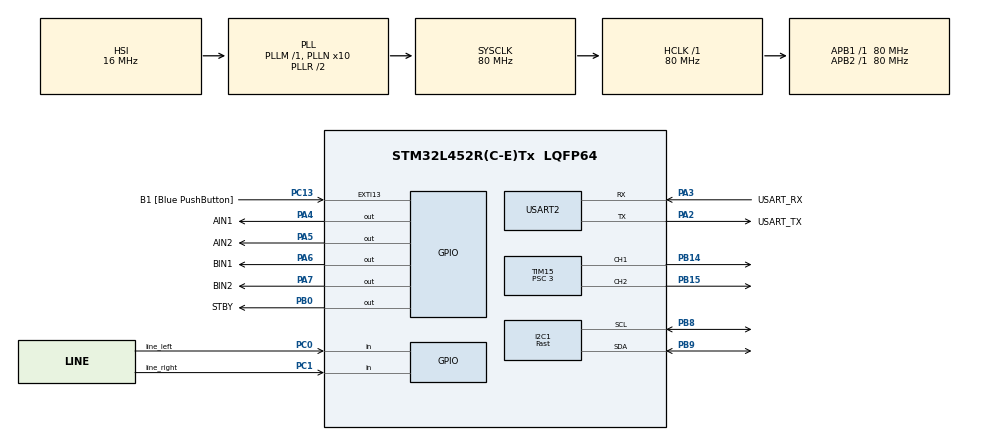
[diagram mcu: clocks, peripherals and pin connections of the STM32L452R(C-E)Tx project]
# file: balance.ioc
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I2C1.I2C_Speed_Mode=I2C_Fast
I2C1.Timing=0x00F12981
Mcu.Family=STM32L4
Mcu.Name=STM32L452R(C-E)Tx
Mcu.Package=LQFP64
NVIC.PriorityGroup=NVIC_PRIORITYGROUP_4
NVIC.TIM6_DAC_IRQn=true\:0\:0\:false\:false\:true\:true\:true\:true
PA13\ (JTMS/SWDIO).GPIO_Label=TMS
PA13\ (JTMS/SWDIO).Mode=Serial_Wire
PA13\ (JTMS/SWDIO).Signal=SYS_JTMS-SWDIO
PA14\ (JTCK/SWCLK).GPIO_Label=TCK
PA14\ (JTCK/SWCLK).Mode=Serial_Wire
PA14\ (JTCK/SWCLK).Signal=SYS_JTCK-SWCLK
PA2.GPIO_Label=USART_TX
PA2.GPIO_Mode=GPIO_MODE_AF_PP
PA2.GPIO_PuPd=GPIO_NOPULL
PA2.GPIO_Speed=GPIO_SPEED_FREQ_VERY_HIGH
PA2.Mode=Asynchronous
PA2.Signal=USART2_TX
PA3.GPIO_Label=USART_RX
PA3.GPIO_Mode=GPIO_MODE_AF_PP
PA3.GPIO_PuPd=GPIO_NOPULL
PA3.GPIO_Speed=GPIO_SPEED_FREQ_VERY_HIGH
PA3.Mode=Asynchronous
PA3.Signal=USART2_RX
PA4.GPIO_Label=AIN1
PA4.Signal=GPIO_Output
PA5.GPIO_Label=AIN2
PA5.Signal=GPIO_Output
PA6.GPIO_Label=BIN1
PA6.Signal=GPIO_Output
PA7.GPIO_Label=BIN2
PA7.Signal=GPIO_Output
PB0.GPIO_Label=STBY
PB0.Signal=GPIO_Output
PB14.Signal=S_TIM15_CH1
PB15.Signal=S_TIM15_CH2
PB3\ (JTDO/TRACESWO).GPIO_Label=SWO
PB3\ (JTDO/TRACESWO).Signal=SYS_JTDO-SWO
PB8.Mode=I2C
PB8.Signal=I2C1_SCL
PB9.Mode=I2C
PB9.Signal=I2C1_SDA
PC0.GPIO_Label=line_left
PC0.GPIO_PuPd=GPIO_PULLUP
PC0.Signal=GPIO_Input
PC1.GPIO_Label=line_right
PC1.GPIO_PuPd=GPIO_PULLUP
PC1.Signal=GPIO_Input
PC13.GPIO_Label=B1 [Blue PushButton]
PC13.GPIO_ModeDefaultEXTI=GPIO_MODE_IT_FALLING
PC13.GPIO_PuPd=GPIO_NOPULL
PC13.Signal=GPXTI13
PC14-OSC32_IN\ (PC14).Mode=LSE-External-Oscillator
PC14-OSC32_IN\ (PC14).Signal=RCC_OSC32_IN
PC15-OSC32_OUT\ (PC15).Mode=LSE-External-Oscillator
PC15-OSC32_OUT\ (PC15).Signal=RCC_OSC32_OUT
PH0-OSC_IN\ (PH0).Signal=RCC_OSC_IN
PH1-OSC_OUT\ (PH1).Signal=RCC_OSC_OUT
ProjectManager.HeapSize=0x200
ProjectManager.StackSize=0x400
ProjectManager.TargetToolchain=STM32CubeIDE
RCC.ADCFreq_Value=64000000
RCC.AHBFreq_Value=80000000
RCC.APB1Freq_Value=80000000
RCC.APB1TimFreq_Value=80000000
RCC.APB2Freq_Value=80000000
RCC.APB2TimFreq_Value=80000000
RCC.CortexFreq_Value=80000000
RCC.HCLKFreq_Value=80000000
RCC.HSE_VALUE=8000000
RCC.HSI48_VALUE=48000000
RCC.HSI_VALUE=16000000
RCC.MSI_VALUE=4000000
RCC.PLLN=10
RCC.PLLSourceVirtual=RCC_PLLSOURCE_HSI
RCC.PREFETCH_ENABLE=1
RCC.SYSCLKFreq_VALUE=80000000
RCC.SYSCLKSource=RCC_SYSCLKSOURCE_PLLCLK
RCC.USBFreq_Value=64000000
RCC.VCOOutputFreq_Value=160000000
SH.S_TIM15_CH1.0=TIM15_CH1,PWM Generation1 CH1
SH.S_TIM15_CH2.0=TIM15_CH2,PWM Generation2 CH2
TIM15.Channel-PWM\ Generation1\ CH1=TIM_CHANNEL_1
TIM15.Channel-PWM\ Generation2\ CH2=TIM_CHANNEL_2
TIM15.Prescaler=3
TIM6.Prescaler=7999
USART2.VirtualMode-Asynchronous=VM_ASYNC
VP_TIM15_VS_ClockSourceINT.Mode=Internal
VP_TIM6_VS_ClockSourceINT.Mode=Enable_Timer
board=NUCLEO-L452RE

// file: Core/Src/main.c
/* USER CODE BEGIN Header */
/**
  ******************************************************************************
  * @file           : main.c
  * @brief          : Main program body
  ******************************************************************************
  * @attention
  *
  * Copyright (c) 2026 STMicroelectronics.
  * All rights reserved.
  *
  * This software is licensed under terms that can be found in the LICENSE file
  * in the root directory of this software component.
  * If no LICENSE file comes with this software, it is provided AS-IS.
  *
  ******************************************************************************
  */
/* USER CODE END Header */
#include "main.h"

/* USER CODE BEGIN Includes */
#include <stdlib.h> // 提供 abs() 絕對值運算
#include <math.h>
#include <stdio.h>
/* USER CODE END Includes */

/* USER CODE BEGIN PD */

#define CONTROL_DT          0.005f

/* 1 = 關閉平衡，只測兩顆 TCRT5000 循跡；0 = 原本平衡循跡 */
#define LINE_ONLY_TEST_MODE  0

#define MPU_ADDR_68         (0x68 << 1)
#define MPU_ADDR_69         (0x69 << 1)

/* 前倒輪子卻往後轉，就把 1 改成 -1 */
#define MOTOR_DIR           1

/* 馬達保護參數：TIM15 Period = 999，所以 PWM 建議控制在 0~999 內 */
#define PWM_RUN_LIMIT       420
#define MOTOR_MIN_PWM       85
#define PWM_DEAD_ZONE       2
#define PWM_STEP_LIMIT      45
#define MOTOR_OUT_MAX       PWM_RUN_LIMIT

/* MPU6050：Accel ±2g = 16384 LSB/g；Gyro ±250 dps = 131 LSB/(deg/s) */
#define ACC_SCALE           16384.0f
#define GYRO_SCALE          131.0f
#define GYRO_SPIKE_LIMIT    400.0f
#define ACC_LPF_ALPHA       0.12f
#define GYRO_LPF_ALPHA      0.35f

/* 接近平衡點時停止微小輸出，避免細抖 */
#define NEAR_BALANCE_DEG    0.08f
#define NEAR_GYRO_DPS       0.6f

/* 兩顆 TCRT5000 循跡設定
   預設接線：
   左循跡 DO -> PC0
   右循跡 DO -> PC1

   多數 TCRT5000 模組黑線時 DO = RESET，如果你的模組相反，
   把 LINE_BLACK_LEVEL 改成 GPIO_PIN_SET。
*/
#define LINE_LEFT_GPIO_Port  GPIOC
#define LINE_LEFT_Pin        GPIO_PIN_0
#define LINE_RIGHT_GPIO_Port GPIOC
#define LINE_RIGHT_Pin       GPIO_PIN_1

#define LINE_BLACK_LEVEL     GPIO_PIN_RESET
#define LINE_ERROR_VALUE     25

/* 平衡 + 循跡模式前進量：
   第一次測平衡建議先用 0；能站穩後再改 8~15 讓它慢慢前進。 */
#define BASE_FORWARD_PWM     0

/* 實用循跡模式參數：
   兩顆 TCRT5000 放在黑線左右兩側時：
   - 兩顆都白：代表黑線在中間，直走
   - 左黑：線偏左，左輪慢、右輪快
   - 右黑：線偏右，左輪快、右輪慢
   - 兩顆都黑：交叉線/粗線，慢速直走
*/
#define LINE_SLOW_PWM        0
#define LINE_FAST_PWM        60

/* 偵測到黑線時使用：
   一邊輪停止，另一邊輪用這個 PWM 慢慢轉彎 */
#define LINE_TURN_PWM        60
#define LINE_BOTH_BLACK_PWM  25

/* 0：兩顆都白時直走，適合兩顆感測器夾著黑線
   1：兩顆都白時停止，適合測試感測器用 */
#define LINE_STOP_BOTH_WHITE 0

/* 如果左黑卻往右修、右黑卻往左修，把 0 改成 1 */
#define LINE_REVERSE_STEER   0

/* 車子整體前後方向反了就改這裡：1=正常，-1=前後反向 */
#define LINE_FORWARD_SIGN    1

/* 掉線短暫救回：
   偵測到左/右黑線後，如果瞬間又變成兩顆都白，
   代表可能已經衝過邊界，短時間繼續往剛才方向修正。 */
#define LINE_RECOVER_PWM     45
#define LINE_RECOVER_MS      300

/* 你的車最多 ±10 度，測試時先給 20 度保護 */
#define ANGLE_STOP_LIMIT    18.0f

#define BUTTON_PRESSED_LEVEL GPIO_PIN_RESET

/* 0 = 模仿 GitHub：連續輸出；1 = 短脈衝 + 煞車 */
#define USE_MOTOR_PULSE     0
#define MOTOR_ON_MS         4
#define MOTOR_OFF_MS        12

/* GitHub control.c 的速度環、方向環週期概念；目前未接編碼器/循跡，預設輸出為 0 */
#define VC_PERIOD           4
#define DC_PERIOD           2
#define VC_OUT_MAX          120
#define DC_OUT_MAX           0

/* 速度環 PID：沒有編碼器前先設 0，等於保留功能但不介入 */
#define VC_PID_P            0.0f
#define VC_PID_I            0.0f
#define VC_PID_D            0.0f

/* 方向環 PID：沒有方向誤差來源前先設 0，等於保留功能但不介入 */
#define DC_PID_P             0.0f
#define DC_PID_D             0.0f

/* USER CODE END PD */

I2C_HandleTypeDef hi2c1;

TIM_HandleTypeDef htim6;
TIM_HandleTypeDef htim15;

UART_HandleTypeDef huart2;

/* USER CODE BEGIN PV */

volatile uint8_t control_flag = 0;
uint8_t motor_enable = 0;

uint8_t mpu_addr = 0;

int16_t Accel_X_RAW, Accel_Y_RAW, Accel_Z_RAW;
int16_t Gyro_X_RAW, Gyro_Y_RAW, Gyro_Z_RAW;

float Ax, Ay, Az;
float Gx, Gy, Gz;
float gyro_balance;

float gyro_offset = 0.0f;
float angle = 0.0f;
float balance_offset = 0.0f;

float Kp = 50.0f;
float Ki = 0.0f;
float Kd = 2.5f;

float integral = 0.0f;

float gyro_lpf = 0.0f;
float acc_angle_lpf = 0.0f;
uint8_t angle_filter_ready = 0;

uint32_t mpu_read_ok_count = 0;
uint32_t mpu_read_fail_count = 0;
uint8_t mpu_last_status = 0;

uint32_t debug_count = 0;

/* GitHub control.c 同功能架構：ac=角度環、vc=速度環、dc=方向環 */
int32_t speed = 0;
int16_t state = 0;
uint8_t line_l_black = 0;
uint8_t line_r_black = 0;
GPIO_PinState line_l_raw = GPIO_PIN_RESET;
GPIO_PinState line_r_raw = GPIO_PIN_RESET;
int32_t ac_pwm = 0;
int32_t vc_pwm = 0;
int32_t dc_pwm = 0;
int32_t left_pwm = 0;
int32_t right_pwm = 0;

/* 輸出平滑用：避免一有傾角 PWM 瞬間跳太大造成過衝 */
int32_t last_left_pwm = 0;
int32_t last_right_pwm = 0;

/* 速度目標：沒有編碼器前保持 0 */
int32_t velocity_set = 0;

/* USER CODE END PV */

void SystemClock_Config(void);
static void MX_GPIO_Init(void);
static void MX_I2C1_Init(void);
static void MX_USART2_UART_Init(void);
static void MX_TIM6_Init(void);
static void MX_TIM15_Init(void);
/* USER CODE BEGIN PFP */
void Motor_Stop(void);
void Motor_Brake(void);
void Motor_Set(int left_pwm, int right_pwm);
void Motor_Set_Gated(int left_pwm, int right_pwm);
void Motor_Proc(int32_t LEFT_MOTOR_OUT, int32_t RIGHT_MOTOR_OUT);
void Line_Only_Control(void);

int32_t Get_PWM(void);
int32_t Smooth_PWM(int32_t target, int32_t *last);
int32_t Get_Speed(void);
int16_t Get_Direction_Error(void);
int32_t Angle_Proc(void);
int32_t Velocity_Proc(int32_t now_speed);
int32_t Direction_Proc(int32_t now_speed);

/* USER CODE END PFP */

/* USER CODE BEGIN 0 */

uint8_t Button_IsPressed(void)
{
    return HAL_GPIO_ReadPin(B1_GPIO_Port, B1_Pin) == BUTTON_PRESSED_LEVEL;
}

int _write(int file, char *ptr, int len)
{
    HAL_UART_Transmit(&huart2, (uint8_t *)ptr, len, HAL_MAX_DELAY);
    return len;
}

int PWM_Compensate(int pwm)
{
    int sign = 1;
    int value;

    if (pwm < 0)
    {
        sign = -1;
        pwm = -pwm;
    }

    if (pwm < PWM_DEAD_ZONE)
    {
        return 0;
    }

    value = MOTOR_MIN_PWM + pwm / 2;

    if (value > PWM_RUN_LIMIT)
    {
        value = PWM_RUN_LIMIT;
    }

    return sign * value;
}

void Motor_Stop(void)
{
    __HAL_TIM_SET_COMPARE(&htim15, TIM_CHANNEL_1, 0);
    __HAL_TIM_SET_COMPARE(&htim15, TIM_CHANNEL_2, 0);

    HAL_GPIO_WritePin(AIN1_GPIO_Port, AIN1_Pin, GPIO_PIN_RESET);
    HAL_GPIO_WritePin(AIN2_GPIO_Port, AIN2_Pin, GPIO_PIN_RESET);
    HAL_GPIO_WritePin(BIN1_GPIO_Port, BIN1_Pin, GPIO_PIN_RESET);
    HAL_GPIO_WritePin(BIN2_GPIO_Port, BIN2_Pin, GPIO_PIN_RESET);

    HAL_GPIO_WritePin(STBY_GPIO_Port, STBY_Pin, GPIO_PIN_RESET);
}

void Motor_Brake(void)
{
    /* TB6612 short brake：STBY 保持啟用，AIN1/AIN2 與 BIN1/BIN2 同時為 High */
    HAL_GPIO_WritePin(STBY_GPIO_Port, STBY_Pin, GPIO_PIN_SET);

    __HAL_TIM_SET_COMPARE(&htim15, TIM_CHANNEL_1, 999);
    __HAL_TIM_SET_COMPARE(&htim15, TIM_CHANNEL_2, 999);

    HAL_GPIO_WritePin(AIN1_GPIO_Port, AIN1_Pin, GPIO_PIN_SET);
    HAL_GPIO_WritePin(AIN2_GPIO_Port, AIN2_Pin, GPIO_PIN_SET);
    HAL_GPIO_WritePin(BIN1_GPIO_Port, BIN1_Pin, GPIO_PIN_SET);
    HAL_GPIO_WritePin(BIN2_GPIO_Port, BIN2_Pin, GPIO_PIN_SET);
}

void Motor_Set(int left_pwm, int right_pwm)
{
    HAL_GPIO_WritePin(STBY_GPIO_Port, STBY_Pin, GPIO_PIN_SET);

    left_pwm = PWM_Compensate(left_pwm);
    right_pwm = PWM_Compensate(right_pwm);

    if (left_pwm >= 0)
    {
        HAL_GPIO_WritePin(AIN1_GPIO_Port, AIN1_Pin, GPIO_PIN_SET);
        HAL_GPIO_WritePin(AIN2_GPIO_Port, AIN2_Pin, GPIO_PIN_RESET);
        __HAL_TIM_SET_COMPARE(&htim15, TIM_CHANNEL_1, left_pwm);
    }
    else
    {
        HAL_GPIO_WritePin(AIN1_GPIO_Port, AIN1_Pin, GPIO_PIN_RESET);
        HAL_GPIO_WritePin(AIN2_GPIO_Port, AIN2_Pin, GPIO_PIN_SET);
        __HAL_TIM_SET_COMPARE(&htim15, TIM_CHANNEL_1, -left_pwm);
    }

    if (right_pwm >= 0)
    {
        HAL_GPIO_WritePin(BIN1_GPIO_Port, BIN1_Pin, GPIO_PIN_SET);
        HAL_GPIO_WritePin(BIN2_GPIO_Port, BIN2_Pin, GPIO_PIN_RESET);
        __HAL_TIM_SET_COMPARE(&htim15, TIM_CHANNEL_2, right_pwm);
    }
    else
    {
        HAL_GPIO_WritePin(BIN1_GPIO_Port, BIN1_Pin, GPIO_PIN_RESET);
        HAL_GPIO_WritePin(BIN2_GPIO_Port, BIN2_Pin, GPIO_PIN_SET);
        __HAL_TIM_SET_COMPARE(&htim15, TIM_CHANNEL_2, -right_pwm);
    }
}

void MPU_Scan(void)
{
    if (HAL_I2C_IsDeviceReady(&hi2c1, MPU_ADDR_68, 3, 100) == HAL_OK)
    {
        mpu_addr = MPU_ADDR_68;
        printf("MPU found at 0x68\r\n");
    }
    else if (HAL_I2C_IsDeviceReady(&hi2c1, MPU_ADDR_69, 3, 100) == HAL_OK)
    {
        mpu_addr = MPU_ADDR_69;
        printf("MPU found at 0x69\r\n");
    }
    else
    {
        mpu_addr = 0;
        printf("MPU not found\r\n");
    }
}

void MPU_Write(uint8_t reg, uint8_t data)
{
    if (mpu_addr == 0) return;
    HAL_I2C_Mem_Write(&hi2c1, mpu_addr, reg, 1, &data, 1, 100);
}

uint8_t MPU_Read_Byte(uint8_t reg)
{
    uint8_t data = 0xFF;

    if (mpu_addr == 0) return 0xFF;

    HAL_I2C_Mem_Read(&hi2c1, mpu_addr, reg, 1, &data, 1, 5);

    return data;
}

void MPU_Init(void)
{
    MPU_Scan();

    if (mpu_addr == 0)
    {
        return;
    }

    uint8_t who = MPU_Read_Byte(0x75);
    printf("WHO_AM_I = 0x%02X\r\n", who);

    /* 先軟體重置 MPU6050，再喚醒，避免上次狀態卡住導致讀值全為 0 */
    MPU_Write(0x6B, 0x80);
    HAL_Delay(100);

    MPU_Write(0x6B, 0x00);   // Wake up
    HAL_Delay(100);

    MPU_Write(0x19, 0x04);   // Sample rate = 1kHz/(1+4)=200Hz，配合 5ms 控制
    MPU_Write(0x1A, 0x03);   // DLPF 約 44Hz，降低馬達震動雜訊
    MPU_Write(0x1B, 0x00);   // Gyro ±250 dps，先用最穩定比例 131 LSB/(deg/s)
    MPU_Write(0x1C, 0x00);   // Accel ±2g，比例 16384 LSB/g

    HAL_Delay(100);

    printf("MPU init done\r\n");
}

uint8_t MPU_Read_All(void)
{
    uint8_t data[14];
    HAL_StatusTypeDef status;

    if (mpu_addr == 0)
    {
        mpu_last_status = 99;
        mpu_read_fail_count++;
        return 0;
    }

    status = HAL_I2C_Mem_Read(&hi2c1, mpu_addr, 0x3B, I2C_MEMADD_SIZE_8BIT, data, 14, 20);

    if (status != HAL_OK)
    {
        mpu_last_status = (uint8_t)status;
        mpu_read_fail_count++;
        return 0;
    }

    mpu_last_status = 0;
    mpu_read_ok_count++;

    Accel_X_RAW = (int16_t)((data[0] << 8) | data[1]);
    Accel_Y_RAW = (int16_t)((data[2] << 8) | data[3]);
    Accel_Z_RAW = (int16_t)((data[4] << 8) | data[5]);

    Gyro_X_RAW = (int16_t)((data[8] << 8) | data[9]);
    Gyro_Y_RAW = (int16_t)((data[10] << 8) | data[11]);
    Gyro_Z_RAW = (int16_t)((data[12] << 8) | data[13]);

    Ax = Accel_X_RAW / ACC_SCALE;
    Ay = Accel_Y_RAW / ACC_SCALE;
    Az = Accel_Z_RAW / ACC_SCALE;

    Gx = Gyro_X_RAW / GYRO_SCALE;
    Gy = Gyro_Y_RAW / GYRO_SCALE;
    Gz = Gyro_Z_RAW / GYRO_SCALE;

    return 1;
}

void MPU_Calibrate_Gyro(void)
{
    float sum = 0.0f;

    printf("Gyro calibrating...\r\n");

    for (int i = 0; i < 500; i++)
    {
        if (MPU_Read_All())
        {
            /*
              預設使用 Gy 當平衡角速度。
              如果後面你改用 Gx，這裡要改成 sum += Gx;
            */
            sum += Gy;
        }

        HAL_Delay(2);
    }

    gyro_offset = sum / 500.0f;

    printf("Gyro offset x100 = %ld\r\n", (long)(gyro_offset * 100));
}

void MPU_Update_Angle(void)
{
    if (!MPU_Read_All())
    {
        return;
    }

    /*
      預設：
      angle 使用 Ax / Az
      gyro_balance 使用 Gy

      如果你前後傾斜時 angle 幾乎不變，改成：
      acc_angle = atan2f(Ay, Az) * 57.2958f;

      如果你前後傾斜時 Gx 變化最大，改成：
      gyro_balance = Gx - gyro_offset;
    */
    float acc_angle_raw = atan2f(Ax, Az) * 57.2958f;

    float gyro_raw = Gy - gyro_offset;

    if (gyro_raw > GYRO_SPIKE_LIMIT) gyro_raw = GYRO_SPIKE_LIMIT;
    if (gyro_raw < -GYRO_SPIKE_LIMIT) gyro_raw = -GYRO_SPIKE_LIMIT;

    if (angle_filter_ready == 0)
    {
        acc_angle_lpf = acc_angle_raw;
        gyro_lpf = gyro_raw;
        angle = acc_angle_raw;
        angle_filter_ready = 1;
    }

    acc_angle_lpf = (1.0f - ACC_LPF_ALPHA) * acc_angle_lpf + ACC_LPF_ALPHA * acc_angle_raw;
    gyro_lpf = (1.0f - GYRO_LPF_ALPHA) * gyro_lpf + GYRO_LPF_ALPHA * gyro_raw;

    gyro_balance = gyro_lpf;

    angle = 0.98f * (angle + gyro_balance * CONTROL_DT) + 0.02f * acc_angle_lpf;
}

int32_t Limit_Int32(int32_t value, int32_t limit)
{
    if (value > limit) return limit;
    if (value < -limit) return -limit;
    return value;
}

int32_t Smooth_PWM(int32_t target, int32_t *last)
{
    if (target > *last + PWM_STEP_LIMIT)
    {
        *last += PWM_STEP_LIMIT;
    }
    else if (target < *last - PWM_STEP_LIMIT)
    {
        *last -= PWM_STEP_LIMIT;
    }
    else
    {
        *last = target;
    }

    return *last;
}

int32_t Get_Speed(void)
{
    /* GitHub 原本會讀 TIM2/TIM4 編碼器。
       你目前硬體沒有編碼器，所以先回傳 0，速度環功能保留但不介入。 */
    return 0;
}

int16_t Get_Direction_Error(void)
{
    /*
      讀取兩顆 TCRT5000：
      line_l_black / line_r_black：
      1 = 看到黑線
      0 = 沒看到黑線

      state：
      -25 = 左邊看到黑線
       25 = 右邊看到黑線
        0 = 中間/交叉/沒有明確偏差
    */

    line_l_raw = HAL_GPIO_ReadPin(LINE_LEFT_GPIO_Port, LINE_LEFT_Pin);
    line_r_raw = HAL_GPIO_ReadPin(LINE_RIGHT_GPIO_Port, LINE_RIGHT_Pin);

    line_l_black = (line_l_raw == LINE_BLACK_LEVEL) ? 1 : 0;
    line_r_black = (line_r_raw == LINE_BLACK_LEVEL) ? 1 : 0;

    if (line_l_black && !line_r_black)
    {
        return -LINE_ERROR_VALUE;
    }
    else if (!line_l_black && line_r_black)
    {
        return LINE_ERROR_VALUE;
    }
    else
    {
        return 0;
    }
}

static int32_t Angle_PID(float set, float nextPoint)
{
    /* 回到較常用的 D 項方向：Angle_Proc 之後等效為 Kp*error + Kd*gyro */
    float error = set - nextPoint;
    float P = Kp * error;
    float D = Kd * gyro_balance;

    return (int32_t)(P - D);
}

int32_t Angle_Proc(void)
{
    /* 對應 GitHub：return -angle_PID(AC_Set, pitch);
       這裡 set 使用按鈕記錄的 balance_offset，nextPoint 使用目前 angle。 */
    return (int32_t)(-MOTOR_DIR * Angle_PID(balance_offset, angle));
}

static int32_t Velocity_PID(int32_t set, int32_t nextPoint)
{
    /* 對應 GitHub 的增量式速度環 PID。
       目前 VC_PID_* 都是 0，所以 vc_pwm 預設為 0。 */
    float error;
    static float lastError = 0.0f, prevError = 0.0f;
    float P, I, D;
    static int32_t incpid = 0;

    error = (float)(set - nextPoint);

    P = VC_PID_P * (error - lastError);
    I = VC_PID_I * error;
    D = VC_PID_D * (error - 2.0f * lastError + prevError);

    if (I > 10.0f || I < -10.0f) I = 0.0f;

    prevError = lastError;
    lastError = error;

    incpid += (int32_t)(P + I + D);
    incpid = Limit_Int32(incpid, VC_OUT_MAX);

    return incpid;
}

int32_t Velocity_Proc(int32_t now_speed)
{
    /* 對應 GitHub：速度環每 VC_PERIOD 次更新一次，並做線性過渡 */
    static uint8_t count = 0;
    static int32_t VC_Out_Old = 0, VC_Out_New = 0;
    int32_t VC_Out;

    if (count >= VC_PERIOD)
    {
        count = 0;
        VC_Out_Old = VC_Out_New;
        VC_Out_New = Velocity_PID(velocity_set, now_speed);
        VC_Out_New = Limit_Int32(VC_Out_New, VC_OUT_MAX);
    }

    count++;
    VC_Out = VC_Out_Old + (VC_Out_New - VC_Out_Old) * count / VC_PERIOD;

    return VC_Out;
}

static int32_t Direction_PID(float dc_p, float dc_d)
{
    /*
      方向環簡化版：
      先只用 P，不用 D，避免循跡測試時一邊輪子突然衝太大。
    */
    state = Get_Direction_Error();

    int32_t P = (int32_t)(dc_p * state);
    P = Limit_Int32(P, DC_OUT_MAX);

    return P;
}

int32_t Direction_Proc(int32_t now_speed)
{
    /*
      平衡-only 模式：
      暫時拿掉循跡修正，不讀 TCRT5000，不做左右差速。
    */
    (void)now_speed;
    state = 0;
    line_l_black = 0;
    line_r_black = 0;
    dc_pwm = 0;
    return 0;
}

int32_t Get_PWM(void)
{
    /*
      平衡-only 模式：
      只用 MPU6050 的角度環 ac_pwm 控制左右輪。
      不加入循跡 dc_pwm，也不加入前進 BASE_FORWARD_PWM。
    */

    MPU_Update_Angle();

    speed = 0;
    ac_pwm = Angle_Proc();
    vc_pwm = 0;
    dc_pwm = 0;

    left_pwm  = ac_pwm;
    right_pwm = ac_pwm;

    float error = angle - balance_offset;

    if (fabsf(error) < NEAR_BALANCE_DEG && fabsf(gyro_balance) < NEAR_GYRO_DPS)
    {
        left_pwm = 0;
        right_pwm = 0;
    }

    left_pwm = Limit_Int32(left_pwm, MOTOR_OUT_MAX);
    right_pwm = Limit_Int32(right_pwm, MOTOR_OUT_MAX);

    left_pwm = Smooth_PWM(left_pwm, &last_left_pwm);
    right_pwm = Smooth_PWM(right_pwm, &last_right_pwm);

    return 0;
}

void Motor_Proc(int32_t LEFT_MOTOR_OUT, int32_t RIGHT_MOTOR_OUT)
{
    /* 對應 GitHub motor_proc()：限制輸出，再依正負號控制左右馬達。 */
    LEFT_MOTOR_OUT = Limit_Int32(LEFT_MOTOR_OUT, MOTOR_OUT_MAX);
    RIGHT_MOTOR_OUT = Limit_Int32(RIGHT_MOTOR_OUT, MOTOR_OUT_MAX);

    if (LEFT_MOTOR_OUT == 0 && RIGHT_MOTOR_OUT == 0)
    {
#if USE_MOTOR_PULSE
        Motor_Brake();
#else
        Motor_Stop();
#endif
        return;
    }

#if USE_MOTOR_PULSE
    Motor_Set_Gated((int)LEFT_MOTOR_OUT, (int)RIGHT_MOTOR_OUT);
#else
    Motor_Set((int)LEFT_MOTOR_OUT, (int)RIGHT_MOTOR_OUT);
#endif
}

void Line_Only_Control(void)
{
    /*
      慢速過彎循跡版：
      - 平衡關閉，只用兩顆 TCRT5000
      - 藍色按鈕：按一下開始，再按一下停止
      - 兩顆都白：直走
      - 左邊偵測到黑線：左輪停止，右輪慢慢轉，往左修
      - 右邊偵測到黑線：右輪停止，左輪慢慢轉，往右修
      - 兩顆都黑：慢速直走
    */

    static uint8_t last_button_pressed = 0;
    static int8_t last_turn_dir = 0;          // -1 = 左，1 = 右，0 = 無
    static uint32_t last_line_time = 0;

    uint32_t now = HAL_GetTick();
    uint8_t button_now = Button_IsPressed();

    /* 藍色按鈕：按一下開始，再按一下停止 */
    if (button_now && !last_button_pressed)
    {
        motor_enable = !motor_enable;

        dc_pwm = 0;
        left_pwm = 0;
        right_pwm = 0;
        last_left_pwm = 0;
        last_right_pwm = 0;
        last_turn_dir = 0;
        last_line_time = now;

        if (motor_enable)
        {
            printf("LINE FOLLOW START - SLOW TURN VERSION\r\n");
        }
        else
        {
            Motor_Stop();
            printf("LINE FOLLOW STOP\r\n");
        }

        HAL_Delay(250);
    }

    last_button_pressed = button_now;

    /* 持續讀取循跡感測器 */
    state = Get_Direction_Error();

    if (motor_enable == 0)
    {
        Motor_Stop();
        left_pwm = 0;
        right_pwm = 0;
        dc_pwm = 0;
    }
    else
    {
        if (line_l_black && !line_r_black)
        {
            /*
              左邊看到黑線：
              左輪停止、右輪慢轉，讓車慢慢往左修正
            */
            last_turn_dir = -1;
            last_line_time = now;

#if LINE_REVERSE_STEER
            left_pwm  = LINE_TURN_PWM;
            right_pwm = 0;
#else
            left_pwm  = 0;
            right_pwm = LINE_TURN_PWM;
#endif
        }
        else if (!line_l_black && line_r_black)
        {
            /*
              右邊看到黑線：
              右輪停止、左輪慢轉，讓車慢慢往右修正
            */
            last_turn_dir = 1;
            last_line_time = now;

#if LINE_REVERSE_STEER
            left_pwm  = 0;
            right_pwm = LINE_TURN_PWM;
#else
            left_pwm  = LINE_TURN_PWM;
            right_pwm = 0;
#endif
        }
        else if (line_l_black && line_r_black)
        {
            /*
              兩顆都看到黑線：
              可能是粗線、交叉線或轉彎入口，先慢速直走。
            */
            left_pwm  = LINE_BOTH_BLACK_PWM;
            right_pwm = LINE_BOTH_BLACK_PWM;
        }
        else
        {
            /*
              兩顆都白：
              若黑線在兩顆感測器中間，表示目前在線上，直走。
              若剛剛才偵測到左/右黑線，短時間用慢速轉彎救回。
            */
            if ((now - last_line_time) < LINE_RECOVER_MS)
            {
                if (last_turn_dir < 0)
                {
#if LINE_REVERSE_STEER
                    left_pwm  = LINE_RECOVER_PWM;
                    right_pwm = 0;
#else
                    left_pwm  = 0;
                    right_pwm = LINE_RECOVER_PWM;
#endif
                }
                else if (last_turn_dir > 0)
                {
#if LINE_REVERSE_STEER
                    left_pwm  = 0;
                    right_pwm = LINE_RECOVER_PWM;
#else
                    left_pwm  = LINE_RECOVER_PWM;
                    right_pwm = 0;
#endif
                }
                else
                {
                    left_pwm  = BASE_FORWARD_PWM;
                    right_pwm = BASE_FORWARD_PWM;
                }
            }
            else
            {
#if LINE_STOP_BOTH_WHITE
                left_pwm  = 0;
                right_pwm = 0;
#else
                left_pwm  = BASE_FORWARD_PWM;
                right_pwm = BASE_FORWARD_PWM;
#endif
            }
        }

        /* 整台車前後方向修正 */
        left_pwm  = LINE_FORWARD_SIGN * left_pwm;
        right_pwm = LINE_FORWARD_SIGN * right_pwm;

        left_pwm = Limit_Int32(left_pwm, MOTOR_OUT_MAX);
        right_pwm = Limit_Int32(right_pwm, MOTOR_OUT_MAX);

        left_pwm = Smooth_PWM(left_pwm, &last_left_pwm);
        right_pwm = Smooth_PWM(right_pwm, &last_right_pwm);

        Motor_Proc(left_pwm, right_pwm);
    }

    static uint32_t last_debug_time = 0;

    if (HAL_GetTick() - last_debug_time >= 200)
    {
        last_debug_time = HAL_GetTick();

        printf("LINE_SLOW rawL=%d rawR=%d lineL=%d lineR=%d state=%d enable=%d last=%d L=%ld R=%ld\r\n",
               line_l_raw,
               line_r_raw,
               line_l_black,
               line_r_black,
               state,
               motor_enable,
               last_turn_dir,
               (long)left_pwm,
               (long)right_pwm);
    }
}

void Balance_Control(void)
{
    if (motor_enable == 0)
    {
        MPU_Update_Angle();
        Motor_Stop();

        if (Button_IsPressed())
        {
            balance_offset = angle;
            integral = 0.0f;
            gyro_lpf = 0.0f;
            acc_angle_lpf = angle;
            angle_filter_ready = 1;
            motor_enable = 1;

            speed = 0;
            ac_pwm = 0;
            vc_pwm = 0;
            dc_pwm = 0;
            left_pwm = 0;
            right_pwm = 0;
            last_left_pwm = 0;
            last_right_pwm = 0;

            printf("BALANCE ONLY START, offset_x100=%ld\r\n",
                   (long)(balance_offset * 100));

            HAL_Delay(300);
        }

        return;
    }

    Get_PWM();

    float error = angle - balance_offset;

    if (error > ANGLE_STOP_LIMIT || error < -ANGLE_STOP_LIMIT)
    {
        Motor_Stop();
        motor_enable = 0;
        integral = 0.0f;
        last_left_pwm = 0;
        last_right_pwm = 0;

        printf("ANGLE STOP, error_x100=%ld\r\n", (long)(error * 100));
        return;
    }

    Motor_Proc(left_pwm, right_pwm);

    static uint32_t last_debug_time = 0;

    if (HAL_GetTick() - last_debug_time >= 200)
    {
        last_debug_time = HAL_GetTick();

        printf("BAL_ONLY angle_x100=%ld offset_x100=%ld error_x100=%ld gyro_x100=%ld ac=%ld L=%ld R=%ld AX=%d AY=%d AZ=%d GX=%d GY=%d GZ=%d ok=%lu fail=%lu st=%u\r\n",
               (long)(angle * 100),
               (long)(balance_offset * 100),
               (long)(error * 100),
               (long)(gyro_balance * 100),
               (long)ac_pwm,
               (long)left_pwm,
               (long)right_pwm,
               Accel_X_RAW, Accel_Y_RAW, Accel_Z_RAW,
               Gyro_X_RAW, Gyro_Y_RAW, Gyro_Z_RAW,
               (unsigned long)mpu_read_ok_count,
               (unsigned long)mpu_read_fail_count,
               mpu_last_status);
    }
}

void HAL_TIM_PeriodElapsedCallback(TIM_HandleTypeDef *htim)
{
    if (htim->Instance == TIM6)
    {
        control_flag = 1;
    }
}

void Motor_Set_Gated(int left_pwm, int right_pwm)
{
    static uint8_t motor_on = 0;
    static uint32_t last_switch_time = 0;

    uint32_t now = HAL_GetTick();

    if (left_pwm == 0 && right_pwm == 0)
    {
        Motor_Brake();
        motor_on = 0;
        last_switch_time = now;
        return;
    }

    if (motor_on)
    {
        Motor_Set(left_pwm, right_pwm);

        if (now - last_switch_time >= MOTOR_ON_MS)
        {
            Motor_Brake();
            motor_on = 0;
            last_switch_time = now;
        }
    }
    else
    {
        Motor_Brake();

        if (now - last_switch_time >= MOTOR_OFF_MS)
        {
            motor_on = 1;
            last_switch_time = now;
            Motor_Set(left_pwm, right_pwm);
        }
    }
}

/* USER CODE END 0 */

int main(void)
{

  /* MCU Configuration--------------------------------------------------------*/

  /* Reset of all peripherals, Initializes the Flash interface and the Systick. */
  HAL_Init();

  /* Configure the system clock */
  SystemClock_Config();

  /* Initialize all configured peripherals */
  MX_GPIO_Init();
  MX_I2C1_Init();
  MX_USART2_UART_Init();
  MX_TIM6_Init();
  MX_TIM15_Init();
  /* USER CODE BEGIN 2 */

  HAL_GPIO_WritePin(STBY_GPIO_Port, STBY_Pin, GPIO_PIN_RESET);

  HAL_TIM_PWM_Start(&htim15, TIM_CHANNEL_1);
  HAL_TIM_PWM_Start(&htim15, TIM_CHANNEL_2);

  Motor_Stop();

#if LINE_ONLY_TEST_MODE
  printf("Line only test mode: balance OFF, MPU not used\r\n");
#else
  printf("Balance only mode: MPU used, line follow OFF\r\n");
  MPU_Init();
  MPU_Calibrate_Gyro();
#endif

  //HAL_TIM_Base_Start_IT(&htim6);

  printf("System Start\r\n");

  /* USER CODE END 2 */

  /* Infinite loop */
  /* USER CODE BEGIN WHILE */
      while (1)
      {
    	  static uint32_t last_control_time = 0;

    	     if (HAL_GetTick() - last_control_time >= 5)
    	     {
    	         last_control_time = HAL_GetTick();
    	         #if LINE_ONLY_TEST_MODE
                 Line_Only_Control();
#else
                 Balance_Control();
#endif
    	     }
    /* USER CODE END WHILE */

      }
}

void SystemClock_Config(void)
{
  RCC_OscInitTypeDef RCC_OscInitStruct = {0};
  RCC_ClkInitTypeDef RCC_ClkInitStruct = {0};

  /** Configure the main internal regulator output voltage
  */
  if (HAL_PWREx_ControlVoltageScaling(PWR_REGULATOR_VOLTAGE_SCALE1) != HAL_OK)
  {
    Error_Handler();
  }

  /** Initializes the RCC Oscillators according to the specified parameters
  * in the RCC_OscInitTypeDef structure.
  */
  RCC_OscInitStruct.OscillatorType = RCC_OSCILLATORTYPE_HSI;
  RCC_OscInitStruct.HSIState = RCC_HSI_ON;
  RCC_OscInitStruct.HSICalibrationValue = 64;
  RCC_OscInitStruct.PLL.PLLState = RCC_PLL_ON;
  RCC_OscInitStruct.PLL.PLLSource = RCC_PLLSOURCE_HSI;
  RCC_OscInitStruct.PLL.PLLM = 1;
  RCC_OscInitStruct.PLL.PLLN = 10;
  RCC_OscInitStruct.PLL.PLLP = RCC_PLLP_DIV7;
  RCC_OscInitStruct.PLL.PLLQ = RCC_PLLQ_DIV2;
  RCC_OscInitStruct.PLL.PLLR = RCC_PLLR_DIV2;
  if (HAL_RCC_OscConfig(&RCC_OscInitStruct) != HAL_OK)
  {
    Error_Handler();
  }

  /** Initializes the CPU, AHB and APB buses clocks
  */
  RCC_ClkInitStruct.ClockType = RCC_CLOCKTYPE_HCLK|RCC_CLOCKTYPE_SYSCLK
                              |RCC_CLOCKTYPE_PCLK1|RCC_CLOCKTYPE_PCLK2;
  RCC_ClkInitStruct.SYSCLKSource = RCC_SYSCLKSOURCE_PLLCLK;
  RCC_ClkInitStruct.AHBCLKDivider = RCC_SYSCLK_DIV1;
  RCC_ClkInitStruct.APB1CLKDivider = RCC_HCLK_DIV1;
  RCC_ClkInitStruct.APB2CLKDivider = RCC_HCLK_DIV1;

  if (HAL_RCC_ClockConfig(&RCC_ClkInitStruct, FLASH_LATENCY_4) != HAL_OK)
  {
    Error_Handler();
  }
}

static void MX_I2C1_Init(void)
{

  hi2c1.Instance = I2C1;
  hi2c1.Init.Timing = 0x00F12981;
  hi2c1.Init.OwnAddress1 = 0;
  hi2c1.Init.AddressingMode = I2C_ADDRESSINGMODE_7BIT;
  hi2c1.Init.DualAddressMode = I2C_DUALADDRESS_DISABLE;
  hi2c1.Init.OwnAddress2 = 0;
  hi2c1.Init.OwnAddress2Masks = I2C_OA2_NOMASK;
  hi2c1.Init.GeneralCallMode = I2C_GENERALCALL_DISABLE;
  hi2c1.Init.NoStretchMode = I2C_NOSTRETCH_DISABLE;
  if (HAL_I2C_Init(&hi2c1) != HAL_OK)
  {
    Error_Handler();
  }

  /** Configure Analogue filter
  */
  if (HAL_I2CEx_ConfigAnalogFilter(&hi2c1, I2C_ANALOGFILTER_ENABLE) != HAL_OK)
  {
    Error_Handler();
  }

  /** Configure Digital filter
  */
  if (HAL_I2CEx_ConfigDigitalFilter(&hi2c1, 0) != HAL_OK)
  {
    Error_Handler();
  }

}

static void MX_TIM6_Init(void)
{

  TIM_MasterConfigTypeDef sMasterConfig = {0};

  htim6.Instance = TIM6;
  htim6.Init.Prescaler = 7999;
  htim6.Init.CounterMode = TIM_COUNTERMODE_UP;
  htim6.Init.Period = 65535;
  htim6.Init.AutoReloadPreload = TIM_AUTORELOAD_PRELOAD_DISABLE;
  if (HAL_TIM_Base_Init(&htim6) != HAL_OK)
  {
    Error_Handler();
  }
  sMasterConfig.MasterOutputTrigger = TIM_TRGO_RESET;
  sMasterConfig.MasterSlaveMode = TIM_MASTERSLAVEMODE_DISABLE;
  if (HAL_TIMEx_MasterConfigSynchronization(&htim6, &sMasterConfig) != HAL_OK)
  {
    Error_Handler();
  }

}

static void MX_TIM15_Init(void)
{

  TIM_ClockConfigTypeDef sClockSourceConfig = {0};
  TIM_MasterConfigTypeDef sMasterConfig = {0};
  TIM_OC_InitTypeDef sConfigOC = {0};
  TIM_BreakDeadTimeConfigTypeDef sBreakDeadTimeConfig = {0};

  htim15.Instance = TIM15;
  htim15.Init.Prescaler = 3;
  htim15.Init.CounterMode = TIM_COUNTERMODE_UP;
  htim15.Init.Period = 999;
  htim15.Init.ClockDivision = TIM_CLOCKDIVISION_DIV1;
  htim15.Init.RepetitionCounter = 0;
  htim15.Init.AutoReloadPreload = TIM_AUTORELOAD_PRELOAD_DISABLE;
  if (HAL_TIM_Base_Init(&htim15) != HAL_OK)
  {
    Error_Handler();
  }
  sClockSourceConfig.ClockSource = TIM_CLOCKSOURCE_INTERNAL;
  if (HAL_TIM_ConfigClockSource(&htim15, &sClockSourceConfig) != HAL_OK)
  {
    Error_Handler();
  }
  if (HAL_TIM_PWM_Init(&htim15) != HAL_OK)
  {
    Error_Handler();
  }
  sMasterConfig.MasterOutputTrigger = TIM_TRGO_RESET;
  sMasterConfig.MasterSlaveMode = TIM_MASTERSLAVEMODE_DISABLE;
  if (HAL_TIMEx_MasterConfigSynchronization(&htim15, &sMasterConfig) != HAL_OK)
  {
    Error_Handler();
  }
  sConfigOC.OCMode = TIM_OCMODE_PWM1;
  sConfigOC.Pulse = 0;
  sConfigOC.OCPolarity = TIM_OCPOLARITY_HIGH;
  sConfigOC.OCNPolarity = TIM_OCNPOLARITY_HIGH;
  sConfigOC.OCFastMode = TIM_OCFAST_DISABLE;
  sConfigOC.OCIdleState = TIM_OCIDLESTATE_RESET;
  sConfigOC.OCNIdleState = TIM_OCNIDLESTATE_RESET;
  if (HAL_TIM_PWM_ConfigChannel(&htim15, &sConfigOC, TIM_CHANNEL_1) != HAL_OK)
  {
    Error_Handler();
  }
  if (HAL_TIM_PWM_ConfigChannel(&htim15, &sConfigOC, TIM_CHANNEL_2) != HAL_OK)
  {
    Error_Handler();
  }
  sBreakDeadTimeConfig.OffStateRunMode = TIM_OSSR_DISABLE;
  sBreakDeadTimeConfig.OffStateIDLEMode = TIM_OSSI_DISABLE;
  sBreakDeadTimeConfig.LockLevel = TIM_LOCKLEVEL_OFF;
  sBreakDeadTimeConfig.DeadTime = 0;
  sBreakDeadTimeConfig.BreakState = TIM_BREAK_DISABLE;
  sBreakDeadTimeConfig.BreakPolarity = TIM_BREAKPOLARITY_HIGH;
  sBreakDeadTimeConfig.AutomaticOutput = TIM_AUTOMATICOUTPUT_DISABLE;
  if (HAL_TIMEx_ConfigBreakDeadTime(&htim15, &sBreakDeadTimeConfig) != HAL_OK)
  {
    Error_Handler();
  }
  HAL_TIM_MspPostInit(&htim15);

}

static void MX_USART2_UART_Init(void)
{

  huart2.Instance = USART2;
  huart2.Init.BaudRate = 115200;
  huart2.Init.WordLength = UART_WORDLENGTH_8B;
  huart2.Init.StopBits = UART_STOPBITS_1;
  huart2.Init.Parity = UART_PARITY_NONE;
  huart2.Init.Mode = UART_MODE_TX_RX;
  huart2.Init.HwFlowCtl = UART_HWCONTROL_NONE;
  huart2.Init.OverSampling = UART_OVERSAMPLING_16;
  huart2.Init.OneBitSampling = UART_ONE_BIT_SAMPLE_DISABLE;
  huart2.AdvancedInit.AdvFeatureInit = UART_ADVFEATURE_NO_INIT;
  if (HAL_UART_Init(&huart2) != HAL_OK)
  {
    Error_Handler();
  }

}

static void MX_GPIO_Init(void)
{
  GPIO_InitTypeDef GPIO_InitStruct = {0};

  /* GPIO Ports Clock Enable */
  __HAL_RCC_GPIOC_CLK_ENABLE();
  __HAL_RCC_GPIOH_CLK_ENABLE();
  __HAL_RCC_GPIOA_CLK_ENABLE();
  __HAL_RCC_GPIOB_CLK_ENABLE();

  /*Configure GPIO pin Output Level */
  HAL_GPIO_WritePin(GPIOA, AIN1_Pin|AIN2_Pin|BIN1_Pin|BIN2_Pin, GPIO_PIN_RESET);

  /*Configure GPIO pin Output Level */
  HAL_GPIO_WritePin(STBY_GPIO_Port, STBY_Pin, GPIO_PIN_RESET);

  /*Configure GPIO pin : B1_Pin */
  GPIO_InitStruct.Pin = B1_Pin;
  GPIO_InitStruct.Mode = GPIO_MODE_IT_FALLING;
  GPIO_InitStruct.Pull = GPIO_NOPULL;
  HAL_GPIO_Init(B1_GPIO_Port, &GPIO_InitStruct);

  /*Configure GPIO pins : LINE_LEFT_Pin LINE_RIGHT_Pin */
  GPIO_InitStruct.Pin = LINE_LEFT_Pin|LINE_RIGHT_Pin;
  GPIO_InitStruct.Mode = GPIO_MODE_INPUT;
  GPIO_InitStruct.Pull = GPIO_PULLUP;
  HAL_GPIO_Init(GPIOC, &GPIO_InitStruct);

  /*Configure GPIO pins : AIN1_Pin AIN2_Pin BIN1_Pin BIN2_Pin */
  GPIO_InitStruct.Pin = AIN1_Pin|AIN2_Pin|BIN1_Pin|BIN2_Pin;
  GPIO_InitStruct.Mode = GPIO_MODE_OUTPUT_PP;
  GPIO_InitStruct.Pull = GPIO_NOPULL;
  GPIO_InitStruct.Speed = GPIO_SPEED_FREQ_LOW;
  HAL_GPIO_Init(GPIOA, &GPIO_InitStruct);

  /*Configure GPIO pin : STBY_Pin */
  GPIO_InitStruct.Pin = STBY_Pin;
  GPIO_InitStruct.Mode = GPIO_MODE_OUTPUT_PP;
  GPIO_InitStruct.Pull = GPIO_NOPULL;
  GPIO_InitStruct.Speed = GPIO_SPEED_FREQ_LOW;
  HAL_GPIO_Init(STBY_GPIO_Port, &GPIO_InitStruct);

}

void Error_Handler(void)
{
  __disable_irq();
  while (1)
  {
  }
}
